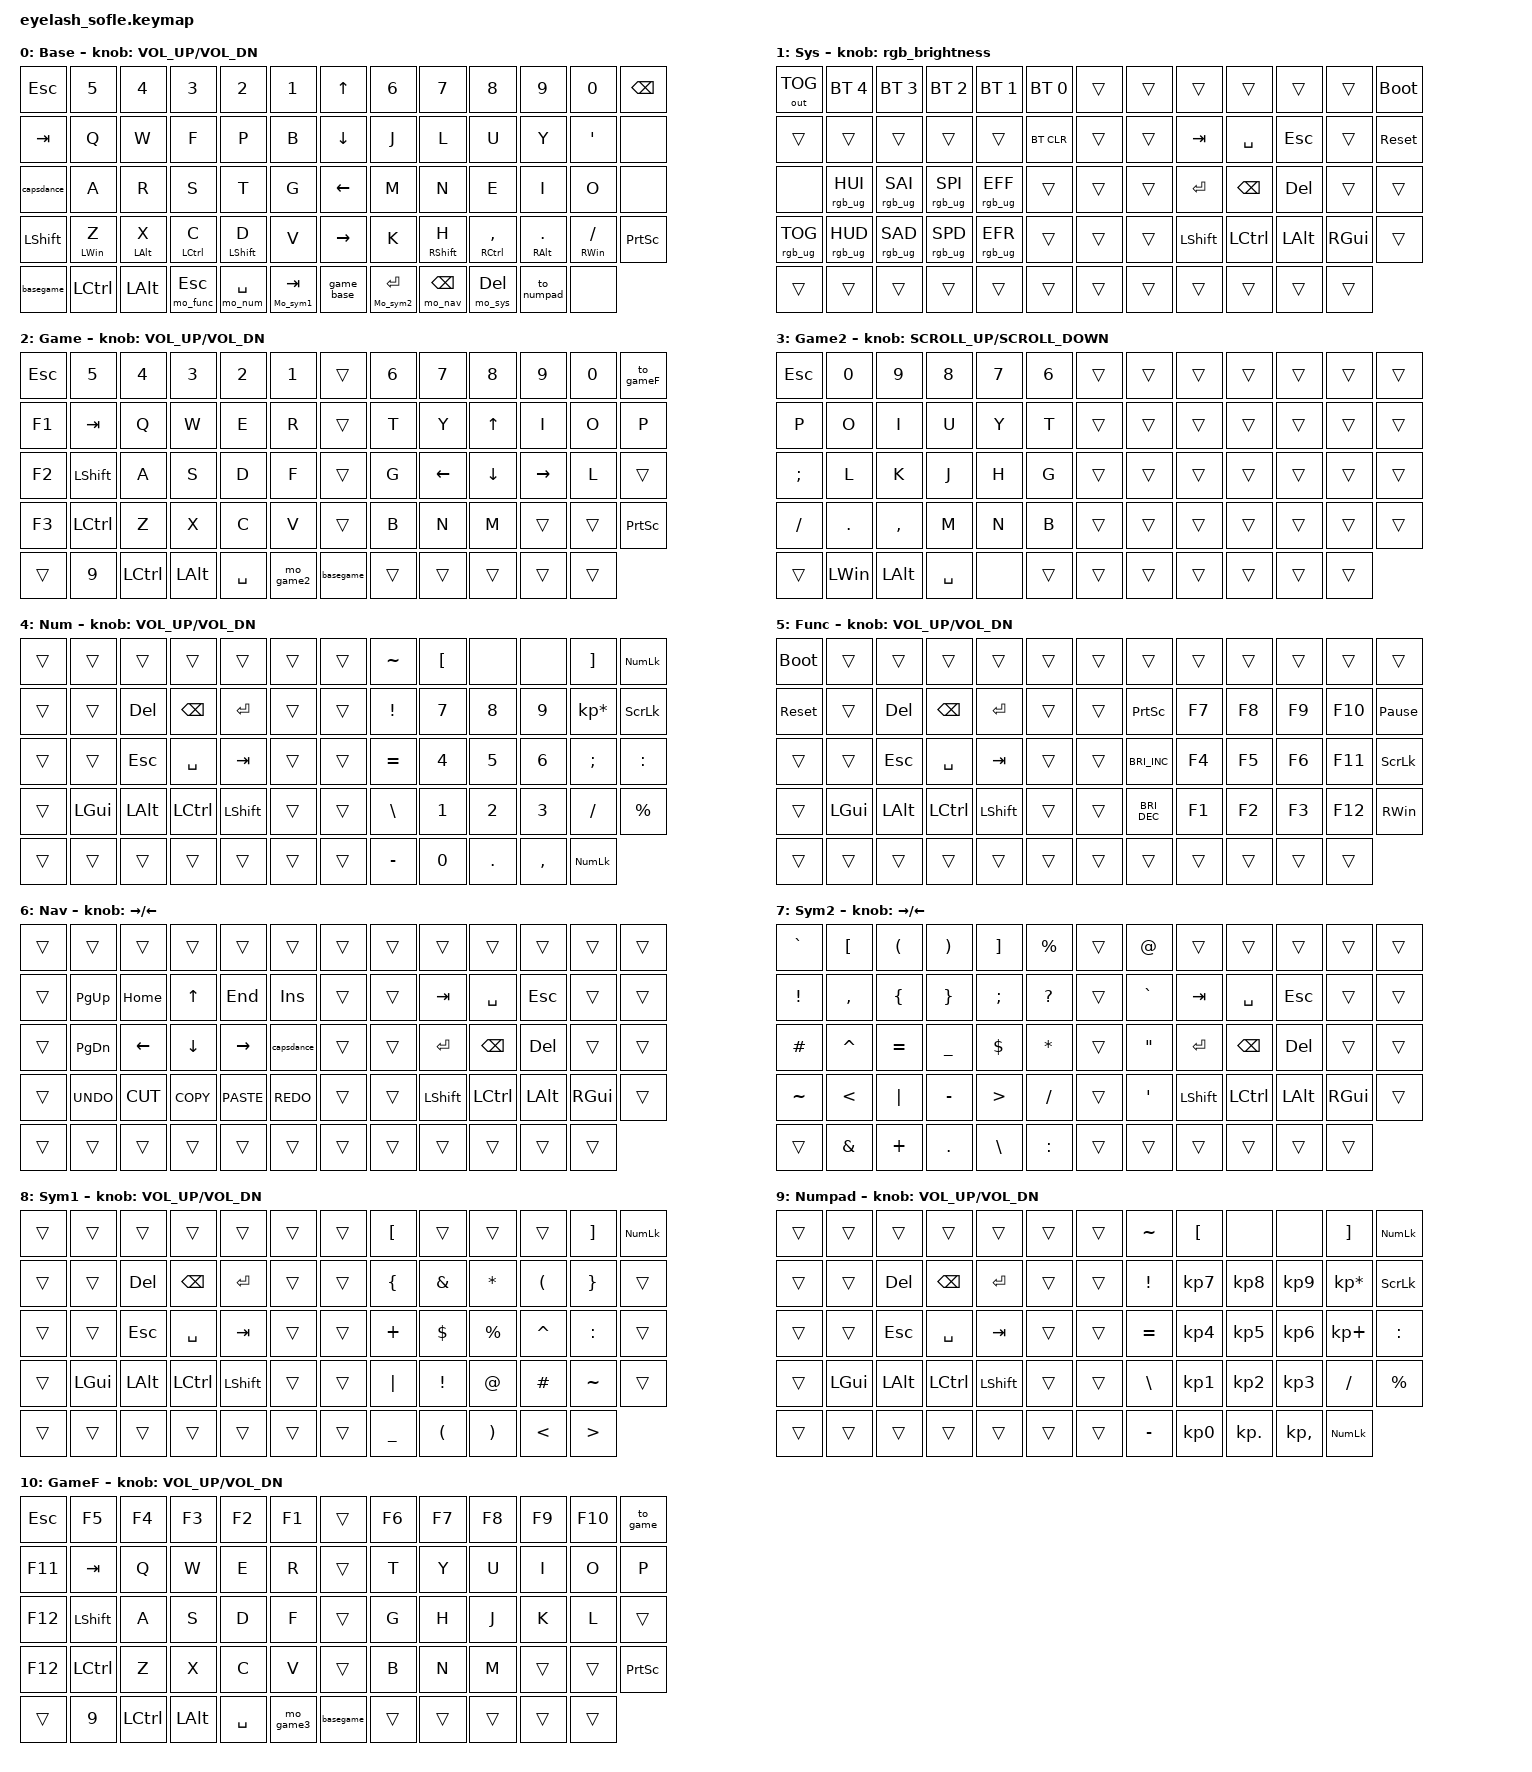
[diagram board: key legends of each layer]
#define ZMK_POINTING_DEFAULT_MOVE_VAL 1200  // 600
#define ZMK_POINTING_DEFAULT_SCRL_VAL 25   // 10

#include <input/processors.dtsi>
#include <zephyr/dt-bindings/input/input-event-codes.h>
#include <behaviors.dtsi>
#include <dt-bindings/zmk/bt.h>
#include <dt-bindings/zmk/keys.h>
#include <dt-bindings/zmk/outputs.h>
#include <dt-bindings/zmk/pointing.h>
#include <dt-bindings/zmk/rgb.h>

&mmv_input_listener { input-processors = <&zip_xy_scaler 2 1>; };

&msc_input_listener { input-processors = <&zip_scroll_scaler 2 1>; };

&msc {
    acceleration-exponent = <1>;      // 0
    time-to-max-speed-ms = <100>;       // 300
    delay-ms = <0>;                   // 0
};

&mmv {
    time-to-max-speed-ms = <500>;
    acceleration-exponent = <1>;
    trigger-period-ms = <16>;
};

/ {
    scroll_encoder: scroll_encoder {
        compatible = "zmk,behavior-sensor-rotate";
        #sensor-binding-cells = <0>;
        bindings = <&msc SCRL_DOWN>, <&msc SCRL_UP>;

        tap-ms = <100>;
    };

    basegame: basegame {
        compatible = "zmk,behavior-tap-dance";
        label = "BASEGAME";
        #binding-cells = <0>;
        bindings = <&to_base>, <&to_game>;
    };

    tph: tph {
        compatible = "zmk,behavior-hold-tap";
        label = "TPH";
        bindings = <&kp>, <&kp>;

        #binding-cells = <2>;
        tapping-term-ms = <140>;
        flavor = "tap-preferred";
    };

    capsdance: capsdance {
        compatible = "zmk,behavior-tap-dance";
        label = "CAPSDANCE";
        #binding-cells = <0>;
        tapping-term-ms = <140>;
        bindings = <&caps_word>, <&kp CAPS>;
    };

    rgb_brightness: rgb_brightness {
        compatible = "zmk,behavior-sensor-rotate";
        label = "RGB_BRIGHTNESS";
        #sensor-binding-cells = <0>;
        bindings = <&rgb_ug RGB_BRI>, <&rgb_ug RGB_BRD>;
    };

    mo_navb: mo_navb {
        compatible = "zmk,behavior-hold-tap";
        label = "MO_NAVB";
        bindings = <&mo_nav>, <&kp>;

        #binding-cells = <2>;
        tapping-term-ms = <140>;
        flavor = "balanced";
    };

    mo_numb: mo_numb {
        compatible = "zmk,behavior-hold-tap";
        label = "MO_NUMB";
        bindings = <&mo_num>, <&kp>;

        #binding-cells = <2>;
        tapping-term-ms = <140>;
        flavor = "balanced";
    };

    mo_funcb: mo_funcb {
        compatible = "zmk,behavior-hold-tap";
        label = "MO_FUNCB";
        bindings = <&mo_func>, <&kp>;

        #binding-cells = <2>;
        tapping-term-ms = <140>;
        flavor = "balanced";
    };

    mo_sysb: mo_sysb {
        compatible = "zmk,behavior-hold-tap";
        label = "MO_SYSB";
        bindings = <&mo_sys>, <&kp>;

        #binding-cells = <2>;
        tapping-term-ms = <140>;
        flavor = "balanced";
    };

    Mo_sym1b: Mo_sym1b {
        compatible = "zmk,behavior-hold-tap";
        label = "MO_SYM1B";
        bindings = <&Mo_sym1>, <&kp>;

        #binding-cells = <2>;
        tapping-term-ms = <140>;
        flavor = "balanced";
    };

    Mo_sym2b: Mo_sym2b {
        compatible = "zmk,behavior-hold-tap";
        label = "MO_SYM2B";
        bindings = <&Mo_sym2>, <&kp>;

        #binding-cells = <2>;
        tapping-term-ms = <140>;
        flavor = "balanced";
    };

    game_base: game_base {
        compatible = "zmk,behavior-tap-dance";
        label = "GAME_BASE";
        #binding-cells = <0>;
        bindings = <&to_game>, <&to_base>;
    };

    mo_numpadb: mo_numpadb {
        compatible = "zmk,behavior-hold-tap";
        label = "MO_NUMPADB";
        bindings = <&to_numpad>, <&kp>;

        #binding-cells = <2>;
        tapping-term-ms = <140>;
        flavor = "balanced";
    };

    behaviors {
    };

    macros {
        base_col: base_col {
            compatible = "zmk,behavior-macro";
            #binding-cells = <0>;
            bindings = <&rgb_ug RGB_COLOR_HSB(236,100,50)>;
            label = "BASE_COL";
        };

        game_col: game_col {
            compatible = "zmk,behavior-macro";
            #binding-cells = <0>;
            bindings = <&rgb_ug RGB_COLOR_HSB(0,100,50)>;
            label = "GAME_COL";
        };

        mo_num: mo_num {
            compatible = "zmk,behavior-macro";
            #binding-cells = <0>;
            bindings =
                <&tog 4 &rgb_ug RGB_COLOR_HSB(177,100,50)>,
                <&macro_pause_for_release>,
                <&tog 4 &base_col>;

            label = "MO_NUM";
        };

        mo_func: mo_func {
            compatible = "zmk,behavior-macro";
            #binding-cells = <0>;
            bindings =
                <&tog 5 &rgb_ug RGB_COLOR_HSB(281,100,50)>,
                <&macro_pause_for_release>,
                <&tog 5 &base_col>;

            label = "MO_FUNC";
        };

        mo_nav: mo_nav {
            compatible = "zmk,behavior-macro";
            #binding-cells = <0>;
            bindings =
                <&tog 6 &rgb_ug RGB_COLOR_HSB(112,100,50)>,
                <&macro_pause_for_release>,
                <&tog 6 &base_col>;

            label = "MO_NAV";
        };

        mo_game2: mo_game2 {
            compatible = "zmk,behavior-macro";
            #binding-cells = <0>;
            bindings =
                <&to 3 &rgb_ug RGB_COLOR_HSB(270,100,50)>,
                <&macro_pause_for_release>,
                <&to 2 &game_col>;

            label = "MO_GAME2";
        };

        to_base: to_base {
            compatible = "zmk,behavior-macro";
            #binding-cells = <0>;
            bindings = <&to 0 &base_col>;
            label = "TO_BASE";
        };

        to_game: to_game {
            compatible = "zmk,behavior-macro";
            #binding-cells = <0>;
            bindings = <&to 2 &game_col>;
            label = "TO_GAME";
        };

        mo_sys: mo_sys {
            compatible = "zmk,behavior-macro";
            #binding-cells = <0>;
            bindings =
                <&tog 1 &rgb_ug RGB_COLOR_HSB(70,100,50)>,
                <&macro_pause_for_release>,
                <&tog 1 &base_col>;

            label = "MO_SYS";
        };

        Mo_sym1: Mo_sym1 {
            compatible = "zmk,behavior-macro";
            #binding-cells = <0>;
            bindings =
                <&tog 8 &rgb_ug RGB_COLOR_HSB(39,100,50)>,
                <&macro_pause_for_release>,
                <&tog 8 &base_col>;

            label = "MO_SYM1";
        };

        Mo_sym2: Mo_sym2 {
            compatible = "zmk,behavior-macro";
            #binding-cells = <0>;
            bindings =
                <&tog 7 &rgb_ug RGB_COLOR_HSB(309,100,50)>,
                <&macro_pause_for_release>,
                <&tog 7 &base_col>;

            label = "MO_SYM2";
        };

        to_numpad: to_numpad {
            compatible = "zmk,behavior-macro";
            #binding-cells = <0>;
            bindings = <&tog 9 &rgb_ug RGB_COLOR_HSB(177,100,50)>;
            label = "TO_NUMPAD";
        };

        to_gameF: tempFGaming {
            compatible = "zmk,behavior-macro";
            #binding-cells = <0>;
            bindings = <&to 10 &rgb_ug RGB_COLOR_HSB(288,80,55)>;
            label = "TEMPFGAMING";
        };

        mo_game3: mo_game3 {
            compatible = "zmk,behavior-macro";
            #binding-cells = <0>;
            bindings =
                <&to 3 &rgb_ug RGB_COLOR_HSB(270,100,50)>,
                <&macro_pause_for_release>,
                <&to 10 &rgb_ug RGB_COLOR_HSB(283,100,57)>;

            label = "MO_GAME3";
        };
    };

    combos {
        compatible = "zmk,combos";

        ToSys {
            bindings = <&to 1>;
            key-positions = <62 63>;
            layers = <0 2 1 3>;
        };
    };

    keymap {
        compatible = "zmk,keymap";

        Base {
            bindings = <
&kp ESC     &kp N5           &kp N4           &kp N3           &kp N2             &kp N1             &kp UP_ARROW     &kp N6             &kp N7                &kp N8            &kp N9              &kp N0               &kp BACKSPACE
&kp TAB     &kp Q            &kp W            &kp F            &kp P              &kp B              &kp DOWN_ARROW   &kp J              &kp L                 &kp U             &kp Y               &kp APOS             &none
&capsdance  &kp A            &kp R            &kp S            &kp T              &kp G              &kp LEFT_ARROW   &kp M              &kp N                 &kp E             &kp I               &kp O                &none
&kp LSHFT   &tph LEFT_WIN Z  &tph LEFT_ALT X  &tph LCTRL C     &tph LEFT_SHIFT D  &kp V              &kp RIGHT_ARROW  &kp K              &tph RIGHT_SHIFT H    &tph RCTRL COMMA  &tph RIGHT_ALT DOT  &tph RIGHT_WIN FSLH  &kp PRINTSCREEN
&basegame   &kp LCTRL        &kp LEFT_ALT     &mo_funcb 0 ESC  &mo_numb 0 SPACE   &Mo_sym1b 0 TAB    &game_base       &Mo_sym2b 0 ENTER  &mo_navb 0 BACKSPACE  &mo_sysb 0 DEL    &to_numpad          &none
            >;

            sensor-bindings = <&inc_dec_kp C_VOLUME_UP C_VOL_DN>;
            display-name = "Base";
        };

        BT_RGB {
            bindings = <
&out OUT_TOG     &bt BT_SEL 4     &bt BT_SEL 3     &bt BT_SEL 2     &bt BT_SEL 1     &bt BT_SEL 0    &trans  &trans  &trans     &trans     &trans    &trans    &bootloader
&trans           &trans           &trans           &trans           &trans           &bt BT_CLR      &trans  &trans  &kp TAB    &kp SPACE  &kp ESC   &trans    &sys_reset
&none            &rgb_ug RGB_HUI  &rgb_ug RGB_SAI  &rgb_ug RGB_SPI  &rgb_ug RGB_EFF  &trans          &trans  &trans  &kp RET    &kp BSPC   &kp DEL   &trans    &trans
&rgb_ug RGB_TOG  &rgb_ug RGB_HUD  &rgb_ug RGB_SAD  &rgb_ug RGB_SPD  &rgb_ug RGB_EFR  &trans          &trans  &trans  &kp LSHFT  &kp LCTRL  &kp LALT  &kp RGUI  &trans
&trans           &trans           &trans           &trans           &trans           &trans          &trans  &trans  &trans     &trans     &trans    &trans
            >;

            label = "Sys";
            sensor-bindings = <&rgb_brightness>;
        };

        Game {
            bindings = <
&kp ESC  &kp N5     &kp N4     &kp N3    &kp N2     &kp N1       &trans     &kp N6  &kp N7    &kp N8    &kp N9     &kp N0  &to_gameF
&kp F1   &kp TAB    &kp Q      &kp W     &kp E      &kp R        &trans     &kp T   &kp Y     &kp UP    &kp I      &kp O   &kp P
&kp F2   &kp LSHFT  &kp A      &kp S     &kp D      &kp F        &trans     &kp G   &kp LEFT  &kp DOWN  &kp RIGHT  &kp L   &trans
&kp F3   &kp LCTRL  &kp Z      &kp X     &kp C      &kp V        &trans     &kp B   &kp N     &kp M     &trans     &trans  &kp PRINTSCREEN
&trans   &kp N9     &kp LCTRL  &kp LALT  &kp SPACE  &mo_game2    &basegame  &trans  &trans    &trans    &trans     &trans
            >;

            sensor-bindings = <&inc_dec_kp C_VOLUME_UP C_VOL_DN>;
            label = "Game";
        };

        Game_Mirror {
            bindings = <
&kp ESC   &kp N0        &kp N9     &kp N8     &kp N7  &kp N6    &trans  &trans  &trans  &trans  &trans  &trans  &trans
&kp P     &kp O         &kp I      &kp U      &kp Y   &kp T     &trans  &trans  &trans  &trans  &trans  &trans  &trans
&kp SEMI  &kp L         &kp K      &kp J      &kp H   &kp G     &trans  &trans  &trans  &trans  &trans  &trans  &trans
&kp FSLH  &kp DOT       &kp COMMA  &kp M      &kp N   &kp B     &trans  &trans  &trans  &trans  &trans  &trans  &trans
&trans    &kp LEFT_WIN  &kp LALT   &kp SPACE  &none   &trans    &trans  &trans  &trans  &trans  &trans  &trans
            >;

            label = "Game2";
            sensor-bindings = <&inc_dec_kp K_SCROLL_UP K_SCROLL_DOWN>;
        };

        Num {
            bindings = <
&trans  &trans    &trans    &trans     &trans     &trans    &trans  &kp TILDE      &kp LBKT  &none    &none      &kp RBKT         &kp KP_NLCK
&trans  &trans    &kp DEL   &kp BSPC   &kp ENTER  &trans    &trans  &kp EXCL       &kp N7    &kp N8   &kp N9     &kp KP_MULTIPLY  &kp SCROLLLOCK
&trans  &trans    &kp ESC   &kp SPACE  &kp TAB    &trans    &trans  &kp EQUAL      &kp N4    &kp N5   &kp N6     &kp SEMICOLON    &kp COLON
&trans  &kp LGUI  &kp LALT  &kp LCTRL  &kp LSHFT  &trans    &trans  &kp BACKSLASH  &kp N1    &kp N2   &kp N3     &kp SLASH        &kp PERCENT
&trans  &trans    &trans    &trans     &trans     &trans    &trans  &kp MINUS      &kp N0    &kp DOT  &kp COMMA  &kp KP_NUM
            >;

            label = "Num";
            sensor-bindings = <&inc_dec_kp C_VOL_UP C_VOL_DN>;
        };

        Func {
            bindings = <
&bootloader  &trans    &trans    &trans     &trans     &trans    &trans  &trans                &trans  &trans  &trans  &trans   &trans
&sys_reset   &trans    &kp DEL   &kp BSPC   &kp ENTER  &trans    &trans  &kp PRINTSCREEN       &kp F7  &kp F8  &kp F9  &kp F10  &kp PAUSE_BREAK
&trans       &trans    &kp ESC   &kp SPACE  &kp TAB    &trans    &trans  &kp C_BRIGHTNESS_INC  &kp F4  &kp F5  &kp F6  &kp F11  &kp SCROLLLOCK
&trans       &kp LGUI  &kp LALT  &kp LCTRL  &kp LSHFT  &trans    &trans  &kp C_BRIGHTNESS_DEC  &kp F1  &kp F2  &kp F3  &kp F12  &kp RIGHT_WIN
&trans       &trans    &trans    &trans     &trans     &trans    &trans  &trans                &trans  &trans  &trans  &trans
            >;

            label = "Func";
            sensor-bindings = <&inc_dec_kp C_VOL_UP C_VOL_DN>;
        };

        nav {
            bindings = <
&trans  &trans       &trans     &trans      &trans       &trans        &trans  &trans  &trans     &trans     &trans    &trans    &trans
&trans  &kp PAGE_UP  &kp HOME   &kp UP      &kp END      &kp INS       &trans  &trans  &kp TAB    &kp SPACE  &kp ESC   &trans    &trans
&trans  &kp PG_DN    &kp LEFT   &kp DOWN    &kp RIGHT    &capsdance    &trans  &trans  &kp RET    &kp BSPC   &kp DEL   &trans    &trans
&trans  &kp K_UNDO   &kp K_CUT  &kp K_COPY  &kp K_PASTE  &kp K_REDO    &trans  &trans  &kp LSHFT  &kp LCTRL  &kp LALT  &kp RGUI  &trans
&trans  &trans       &trans     &trans      &trans       &trans        &trans  &trans  &trans     &trans     &trans    &trans
            >;

            label = "Nav";
            sensor-bindings = <&inc_dec_kp RIGHT LEFT>;
        };

        Sym2 {
            label = "Sym2";
            bindings = <
&kp GRAVE  &kp LBKT       &kp LEFT_PARENTHESIS  &kp RIGHT_PARENTHESIS  &kp RIGHT_BRACKET  &kp PERCENT    &trans  &kp AT             &trans     &trans     &trans    &trans    &trans
&kp EXCL   &kp COMMA      &kp LEFT_BRACE        &kp RIGHT_BRACE        &kp SEMI           &kp QMARK      &trans  &kp GRAVE          &kp TAB    &kp SPACE  &kp ESC   &trans    &trans
&kp HASH   &kp CARET      &kp EQUAL             &kp UNDERSCORE         &kp DOLLAR         &kp ASTRK      &trans  &kp DOUBLE_QUOTES  &kp RET    &kp BSPC   &kp DEL   &trans    &trans
&kp TILDE  &kp LESS_THAN  &kp PIPE              &kp MINUS              &kp GREATER_THAN   &kp SLASH      &trans  &kp SINGLE_QUOTE   &kp LSHFT  &kp LCTRL  &kp LALT  &kp RGUI  &trans
&trans     &kp AMPERSAND  &kp PLUS              &kp DOT                &kp BACKSLASH      &kp COLON      &trans  &trans             &trans     &trans     &trans    &trans
            >;

            sensor-bindings = <&inc_dec_kp RIGHT LEFT>;
        };

        Sym1 {
            label = "Sym1";
            bindings = <
&trans  &trans    &trans    &trans     &trans     &trans    &trans  &kp LEFT_BRACKET  &trans                &trans                 &trans                &kp RIGHT_BRACKET  &kp KP_NLCK
&trans  &trans    &kp DEL   &kp BSPC   &kp ENTER  &trans    &trans  &kp LEFT_BRACE    &kp AMPS              &kp STAR               &kp LEFT_PARENTHESIS  &kp RIGHT_BRACE    &trans
&trans  &trans    &kp ESC   &kp SPACE  &kp TAB    &trans    &trans  &kp PLUS          &kp DOLLAR            &kp PERCENT            &kp CARET             &kp COLON          &trans
&trans  &kp LGUI  &kp LALT  &kp LCTRL  &kp LSHFT  &trans    &trans  &kp PIPE          &kp EXCLAMATION       &kp AT                 &kp HASH              &kp TILDE          &trans
&trans  &trans    &trans    &trans     &trans     &trans    &trans  &kp UNDERSCORE    &kp LEFT_PARENTHESIS  &kp RIGHT_PARENTHESIS  &kp LESS_THAN         &kp GREATER_THAN
            >;

            sensor-bindings = <&inc_dec_kp C_VOL_UP C_VOL_DN>;
        };

        numpad {
            label = "Numpad";
            bindings = <
&trans  &trans    &trans    &trans     &trans     &trans    &trans  &kp TILDE      &kp LBKT   &none       &none         &kp RBKT         &kp KP_NLCK
&trans  &trans    &kp DEL   &kp BSPC   &kp ENTER  &trans    &trans  &kp EXCL       &kp KP_N7  &kp KP_N8   &kp KP_N9     &kp KP_MULTIPLY  &kp SCROLLLOCK
&trans  &trans    &kp ESC   &kp SPACE  &kp TAB    &trans    &trans  &kp EQUAL      &kp KP_N4  &kp KP_N5   &kp KP_N6     &kp KP_PLUS      &kp COLON
&trans  &kp LGUI  &kp LALT  &kp LCTRL  &kp LSHFT  &trans    &trans  &kp BACKSLASH  &kp KP_N1  &kp KP_N2   &kp KP_N3     &kp SLASH        &kp PERCENT
&trans  &trans    &trans    &trans     &trans     &trans    &trans  &kp MINUS      &kp KP_N0  &kp KP_DOT  &kp KP_COMMA  &kp KP_NUM
            >;

            sensor-bindings = <&inc_dec_kp C_VOL_UP C_VOL_DN>;
        };

        GameF {
            label = "GameF";
            bindings = <
&kp ESC  &kp F5     &kp F4     &kp F3    &kp F2     &kp F1       &trans     &kp F6  &kp F7  &kp F8  &kp F9  &kp F10  &to_game
&kp F11  &kp TAB    &kp Q      &kp W     &kp E      &kp R        &trans     &kp T   &kp Y   &kp U   &kp I   &kp O    &kp P
&kp F12  &kp LSHFT  &kp A      &kp S     &kp D      &kp F        &trans     &kp G   &kp H   &kp J   &kp K   &kp L    &trans
&kp F12  &kp LCTRL  &kp Z      &kp X     &kp C      &kp V        &trans     &kp B   &kp N   &kp M   &trans  &trans   &kp PRINTSCREEN
&trans   &kp N9     &kp LCTRL  &kp LALT  &kp SPACE  &mo_game3    &basegame  &trans  &trans  &trans  &trans  &trans
            >;

            sensor-bindings = <&inc_dec_kp C_VOLUME_UP C_VOL_DN>;
        };
    };
};
